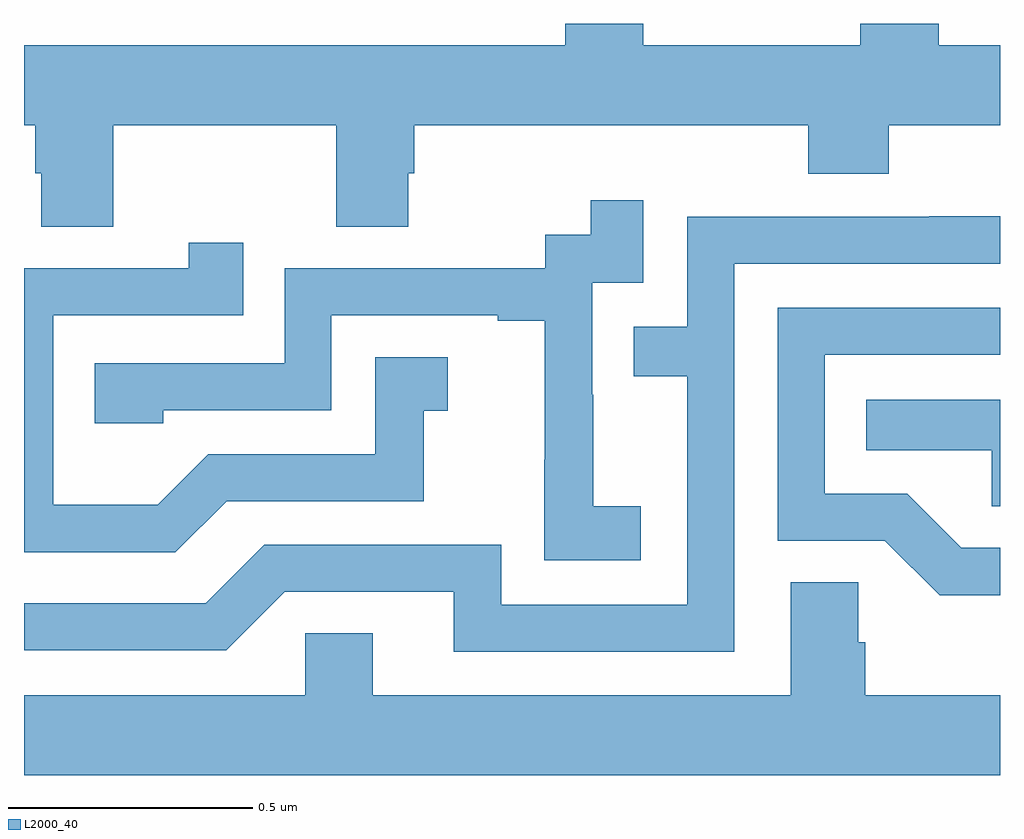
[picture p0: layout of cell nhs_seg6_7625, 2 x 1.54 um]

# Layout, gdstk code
import gdstk
lib = gdstk.Library(unit=1e-6, precision=1e-09)
def P(c, l, *ps):  # polygons
    for p in ps: c.add(gdstk.Polygon(p, *l))
L2000_40 = (2000, 40)

nhs_seg6_7625 = lib.new_cell('nhs_seg6_7625')
P(nhs_seg6_7625, L2000_40, [(210.183,991.292),(210.64,991.292),(210.64,991.084),(210.787,991.084),(210.787,991.194),(210.8,991.194),(210.8,991.292),(211.607,991.292),(211.607,991.193),(211.772,991.193),(211.772,991.292),(212,991.292),(212,991.456),(211.874,991.456),(211.874,991.5),(211.714,991.5),(211.714,991.456),(211.269,991.456),(211.269,991.5),(211.109,991.5),(211.109,991.456),(210,991.456),(210,991.292),(210.023,991.292),(210.023,991.194),(210.035,991.194),(210.035,991.084),(210.183,991.084)],
  [(211.264,990.511),(211.166,990.511),(211.166,990.74),(211.164,990.74),(211.164,990.969),(211.269,990.969),(211.269,991.138),(211.161,991.138),(211.161,991.068),(211.068,991.068),(211.068,990.999),(210.534,990.999),(210.534,990.804),(210.145,990.804),(210.145,990.681),(210.285,990.681),(210.285,990.708),(210.63,990.708),(210.63,990.903),(210.971,990.903),(210.971,990.891),(211.067,990.891),(211.067,990.607),(211.066,990.607),(211.066,990.401),(211.264,990.401)],
  [(211.455,991.008),(212,991.008),(212,991.106),(211.855,991.106),(211.855,991.104),(211.359,991.104),(211.359,990.879),(211.249,990.879),(211.249,990.778),(211.359,990.778),(211.359,990.309),(210.978,990.309),(210.978,990.432),(210.492,990.432),(210.372,990.312),(210,990.312),(210,990.216),(210.414,990.216),(210.534,990.336),(210.881,990.336),(210.881,990.213),(211.455,990.213)],
  [(210.415,990.522),(210.819,990.522),(210.819,990.707),(210.868,990.707),(210.868,990.817),(210.72,990.817),(210.72,990.618),(210.378,990.618),(210.274,990.514),(210.06,990.514),(210.06,990.903),(210.449,990.903),(210.449,991.051),(210.338,991.051),(210.338,990.999),(210,990.999),(210,990.417),(210.31,990.417)],
  [(212,990.426),(211.921,990.426),(211.81,990.537),(211.641,990.537),(211.641,990.822),(212,990.822),(212,990.918),(211.545,990.918),(211.545,990.441),(211.764,990.441),(211.877,990.329),(212,990.329)],
  [(212,990.73),(211.726,990.73),(211.726,990.626),(211.983,990.626),(211.983,990.511),(212,990.511)],
  [(212,990.124),(211.724,990.124),(211.724,990.233),(211.71,990.233),(211.71,990.356),(211.571,990.356),(211.571,990.124),(210.715,990.124),(210.715,990.251),(210.576,990.251),(210.576,990.124),(210,990.124),(210,989.96),(212,989.96)])

lib.write_gds('nhs_seg6_7625.gds')
